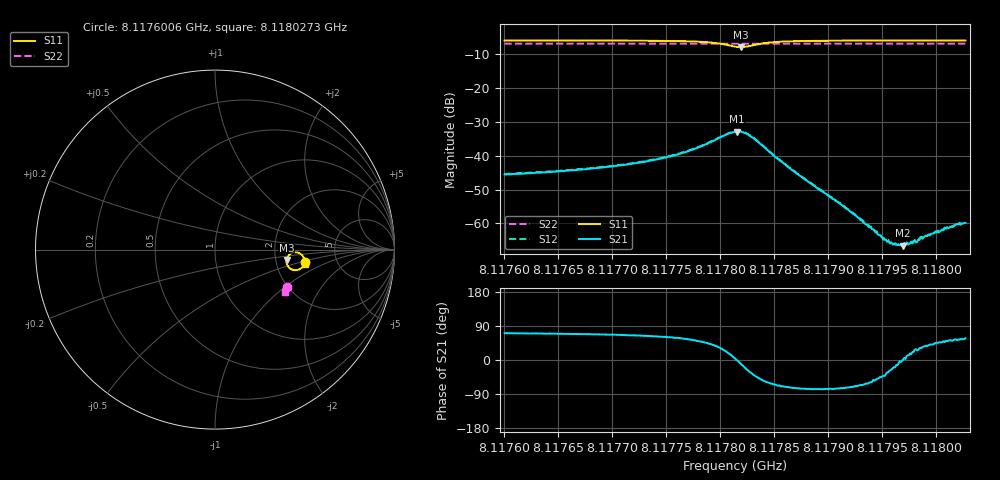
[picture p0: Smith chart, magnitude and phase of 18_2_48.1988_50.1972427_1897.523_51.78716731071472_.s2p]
#  HZ  S  RI  R  50.00
! Rohde & Schwarz Vector Network Analyzer
! Rohde-Schwarz,ZNB20-2Port,1311601062101988,3.16
! Created: UTC 3/20/2024, 11:36:50 AM
! freq[Hz]  re:S11  im:S11  re:S21  im:S21  re:S12  im:S12  re:S22  im:S22
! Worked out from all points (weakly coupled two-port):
!   401 points, 8.1176006 GHz to 8.1180273 GHz, reference 50 ohm
!   highest |S21| = -32.85 dB at 8.1178161 GHz (marker M1); lowest = -66.6 dB at 8.1179697 GHz (marker M2)
!   lowest |S11| = -7.9 dB at 8.1178193 GHz (marker M3), VSWR 2.35, Z = 115 - j15.7 ohm
!   |S11| at or under -10 dB: nowhere
!   |S22| runs from -7.0 to -6.9 dB; largest |S21 - S12| = 0.00062
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8.11760061e9  0.5002 -0.0673  0.00174 0.00499  0.0018 0.00505  0.4015 -0.2084
8.11767208e9  0.4976 -0.0769  0.00231 0.00581  0.00244 0.0059  0.3991 -0.2132
8.11771474e9  0.4944 -0.0851  0.00311 0.00678  0.00324 0.00688  0.3979 -0.2162
8.11774354e9  0.4897 -0.0933  0.00425 0.0079  0.00435 0.008  0.3965 -0.218
8.11776914e9  0.4802 -0.1037  0.00645 0.00944  0.0068 0.00962  0.3951 -0.2201
8.11779901e9  0.4405 -0.1144  0.0152 0.01  0.0155 0.0101  0.3926 -0.2219
8.11781394e9  0.4013 -0.0825  0.0225 0.00167  0.0229 0.00151  0.3905 -0.2206
8.11781607e9  0.3989 -0.0729  0.0228 -0.000506  0.0232 -0.000718  0.3906 -0.2202
8.11781927e9  0.3986 -0.0574  0.0223 -0.0038  0.0226 -0.00408  0.3907 -0.2198
8.117831e9  0.4303 -0.0181  0.0142 -0.0115  0.0143 -0.0118  0.3923 -0.2192
8.1178566e9  0.4836 -0.0293  0.00284 -0.00772  0.00296 -0.00775  0.3937 -0.2219
8.1178854e9  0.4957 -0.0483  0.000856 -0.00365  0.00083 -0.00373  0.3931 -0.2245
8.11791313e9  0.4984 -0.0587  0.000493 -0.00178  0.000462 -0.00181  0.3924 -0.2267
8.11794833e9  0.4993 -0.067  0.00047 -0.000476  0.000448 -0.000504  0.3911 -0.2291
8.11795687e9  0.4993 -0.0688  0.000461 -0.00025  0.000449 -0.000252  0.3908 -0.2298
8.11796327e9  0.4991 -0.0698  0.000469 -0.000112  0.000473 -0.000144  0.3904 -0.2301
8.11796967e9  0.4992 -0.0709  0.00047 8.92e-06  0.000485 -1.24e-05  0.3904 -0.2306
8.1179814e9  0.4991 -0.0729  0.000472 0.000257  0.000474 0.000209  0.3899 -0.2312
8.11798886e9  0.499 -0.0739  0.000509 0.00037  0.000528 0.000331  0.3897 -0.2318
8.1180038e9  0.4988 -0.0761  0.00052 0.000553  0.000537 0.000595  0.3892 -0.2329
8.1180198e9  0.4987 -0.0781  0.000597 0.000781  0.000594 0.000752  0.3886 -0.2338
8.11802726e9  0.4987 -0.0789  0.000548 0.000857  0.000596 0.000842  0.3883 -0.2343
